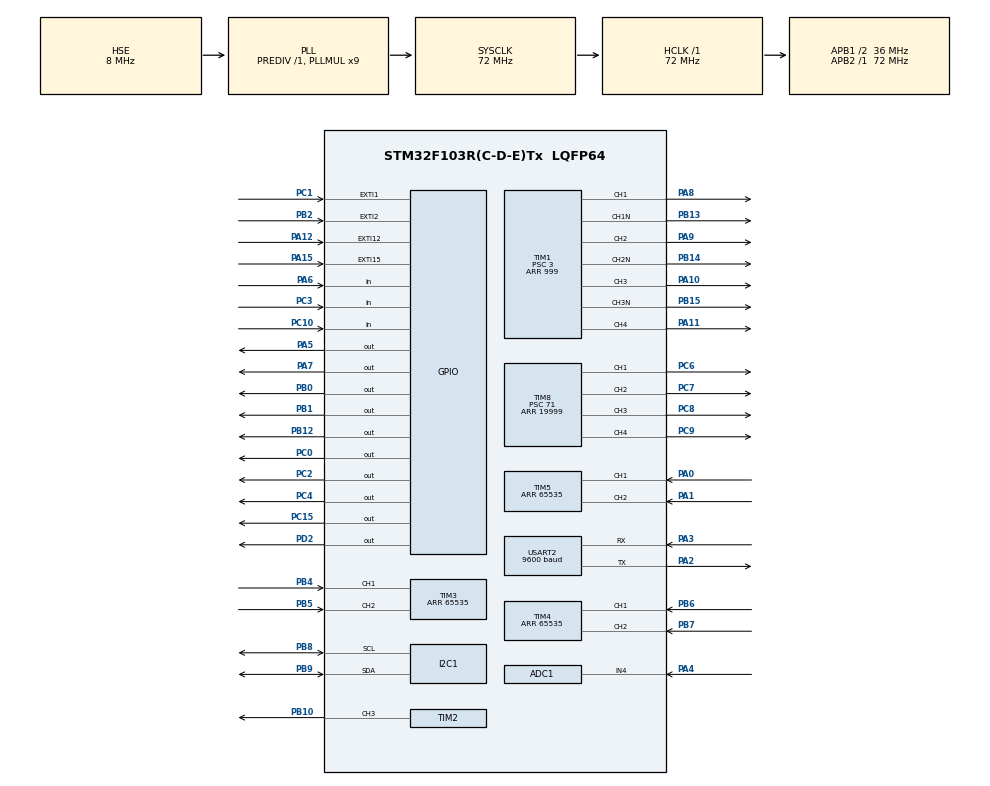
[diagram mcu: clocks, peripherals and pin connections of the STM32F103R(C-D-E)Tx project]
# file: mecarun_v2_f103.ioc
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ADC1.Channel-0\#ChannelRegularConversion=ADC_CHANNEL_4
ADC1.ContinuousConvMode=DISABLE
ADC1.DataAlign=ADC_DATAALIGN_RIGHT
ADC1.DiscontinuousConvMode=DISABLE
ADC1.EnableAnalogWatchDog=false
ADC1.EnableRegularConversion=ENABLE
ADC1.ExternalTrigConv=ADC_SOFTWARE_START
ADC1.InjNumberOfConversion=0
ADC1.NbrOfConversion=1
ADC1.NbrOfConversionFlag=1
ADC1.Rank-0\#ChannelRegularConversion=1
ADC1.SamplingTime-0\#ChannelRegularConversion=ADC_SAMPLETIME_1CYCLE_5
ADC1.ScanConvMode=ADC_SCAN_DISABLE
ADC1.master=1
Dma.Request0=USART2_RX
Dma.Request1=USART2_TX
Dma.USART2_RX.0.Direction=DMA_PERIPH_TO_MEMORY
Dma.USART2_RX.0.Instance=DMA1_Channel6
Dma.USART2_RX.0.MemDataAlignment=DMA_MDATAALIGN_BYTE
Dma.USART2_RX.0.MemInc=DMA_MINC_ENABLE
Dma.USART2_RX.0.Mode=DMA_NORMAL
Dma.USART2_RX.0.PeriphDataAlignment=DMA_PDATAALIGN_BYTE
Dma.USART2_RX.0.PeriphInc=DMA_PINC_DISABLE
Dma.USART2_RX.0.Priority=DMA_PRIORITY_LOW
Dma.USART2_TX.1.Direction=DMA_MEMORY_TO_PERIPH
Dma.USART2_TX.1.Instance=DMA1_Channel7
Dma.USART2_TX.1.MemDataAlignment=DMA_MDATAALIGN_BYTE
Dma.USART2_TX.1.MemInc=DMA_MINC_ENABLE
Dma.USART2_TX.1.Mode=DMA_NORMAL
Dma.USART2_TX.1.PeriphDataAlignment=DMA_PDATAALIGN_BYTE
Dma.USART2_TX.1.PeriphInc=DMA_PINC_DISABLE
Dma.USART2_TX.1.Priority=DMA_PRIORITY_LOW
I2C1.I2C_Mode=I2C_Fast
IWDG.Prescaler=IWDG_PRESCALER_256
Mcu.Family=STM32F1
Mcu.Name=STM32F103R(C-D-E)Tx
Mcu.Package=LQFP64
NVIC.ADC1_2_IRQn=true\:6\:0\:true\:false\:true\:true\:true
NVIC.DMA1_Channel6_IRQn=true\:0\:0\:false\:false\:true\:false\:true
NVIC.DMA1_Channel7_IRQn=true\:0\:0\:false\:false\:true\:false\:true
NVIC.EXTI15_10_IRQn=true\:5\:0\:true\:false\:false\:true\:true
NVIC.EXTI1_IRQn=true\:1\:0\:true\:false\:false\:true\:true
NVIC.EXTI2_IRQn=true\:0\:0\:false\:false\:false\:true\:true
NVIC.I2C1_EV_IRQn=true\:3\:0\:true\:false\:true\:true\:true
NVIC.PriorityGroup=NVIC_PRIORITYGROUP_4
NVIC.USART2_IRQn=true\:0\:0\:false\:false\:true\:true\:true
PA0-WKUP.Signal=S_TIM5_CH1
PA1.Signal=S_TIM5_CH2
PA10.GPIO_Speed=GPIO_SPEED_FREQ_HIGH
PA10.Signal=S_TIM1_CH3
PA11.GPIO_Speed=GPIO_SPEED_FREQ_HIGH
PA11.Signal=S_TIM1_CH4
PA12.GPIO_PuPd=GPIO_PULLUP
PA12.Signal=GPXTI12
PA13.Mode=Serial_Wire
PA13.Signal=SYS_JTMS-SWDIO
PA14.Mode=Serial_Wire
PA14.Signal=SYS_JTCK-SWCLK
PA15.GPIO_ModeDefaultEXTI=GPIO_MODE_IT_RISING_FALLING
PA15.Signal=GPXTI15
PA2.Mode=Asynchronous
PA2.Signal=USART2_TX
PA3.Mode=Asynchronous
PA3.Signal=USART2_RX
PA4.Signal=ADCx_IN4
PA5.GPIO_Speed=GPIO_SPEED_FREQ_HIGH
PA5.PinState=GPIO_PIN_SET
PA5.Signal=GPIO_Output
PA6.Signal=GPIO_Input
PA7.GPIO_Speed=GPIO_SPEED_FREQ_HIGH
PA7.PinState=GPIO_PIN_SET
PA7.Signal=GPIO_Output
PA8.GPIO_Speed=GPIO_SPEED_FREQ_HIGH
PA8.Signal=S_TIM1_CH1
PA9.GPIO_Speed=GPIO_SPEED_FREQ_HIGH
PA9.Signal=S_TIM1_CH2
PB0.Signal=GPIO_Output
PB1.Signal=GPIO_Output
PB10.Signal=S_TIM2_CH3
PB12.PinState=GPIO_PIN_RESET
PB12.Signal=GPIO_Output
PB13.GPIO_Speed=GPIO_SPEED_FREQ_HIGH
PB13.Mode=PWM Generation1 CH1 CH1N
PB13.Signal=TIM1_CH1N
PB14.GPIO_Speed=GPIO_SPEED_FREQ_HIGH
PB14.Mode=PWM Generation2 CH2 CH2N
PB14.Signal=TIM1_CH2N
PB15.GPIO_Speed=GPIO_SPEED_FREQ_HIGH
PB15.Mode=PWM Generation3 CH3 CH3N
PB15.Signal=TIM1_CH3N
PB2.GPIO_ModeDefaultEXTI=GPIO_MODE_IT_RISING_FALLING
PB2.Signal=GPXTI2
PB4.Signal=S_TIM3_CH1
PB5.Signal=S_TIM3_CH2
PB6.Signal=S_TIM4_CH1
PB7.Signal=S_TIM4_CH2
PB8.Mode=I2C
PB8.Signal=I2C1_SCL
PB9.Mode=I2C
PB9.Signal=I2C1_SDA
PC0.Signal=GPIO_Output
PC1.GPIO_ModeDefaultEXTI=GPIO_MODE_IT_RISING_FALLING
PC1.Signal=GPXTI1
PC10.GPIO_PuPd=GPIO_PULLUP
PC10.Signal=GPIO_Input
PC15-OSC32_OUT.GPIO_Speed=GPIO_SPEED_FREQ_HIGH
PC15-OSC32_OUT.Signal=GPIO_Output
PC2.PinState=GPIO_PIN_SET
PC2.Signal=GPIO_Output
PC3.GPIO_PuPd=GPIO_PULLUP
PC3.Signal=GPIO_Input
PC4.GPIO_Speed=GPIO_SPEED_FREQ_HIGH
PC4.Signal=GPIO_Output
PC6.Signal=S_TIM8_CH1
PC7.Signal=S_TIM8_CH2
PC8.Signal=S_TIM8_CH3
PC9.Signal=S_TIM8_CH4
PD0-OSC_IN.Mode=HSE-External-Oscillator
PD0-OSC_IN.Signal=RCC_OSC_IN
PD1-OSC_OUT.Mode=HSE-External-Oscillator
PD1-OSC_OUT.Signal=RCC_OSC_OUT
PD2.Signal=GPIO_Output
ProjectManager.HeapSize=0x200
ProjectManager.StackSize=0x400
ProjectManager.TargetToolchain=MDK-ARM V5
RCC.ADCPresc=RCC_ADCPCLK2_DIV6
RCC.AHBFreq_Value=72000000
RCC.APB1CLKDivider=RCC_HCLK_DIV2
RCC.APB1Freq_Value=36000000
RCC.APB1TimFreq_Value=72000000
RCC.APB2Freq_Value=72000000
RCC.APB2TimFreq_Value=72000000
RCC.HCLKFreq_Value=72000000
RCC.PLLMUL=RCC_PLL_MUL9
RCC.PLLSourceVirtual=RCC_PLLSOURCE_HSE
RCC.SYSCLKFreq_VALUE=72000000
RCC.SYSCLKSource=RCC_SYSCLKSOURCE_PLLCLK
RCC.USBFreq_Value=72000000
SH.ADCx_IN4.0=ADC1_IN4,IN4
SH.S_TIM1_CH1.0=TIM1_CH1,PWM Generation1 CH1 CH1N
SH.S_TIM1_CH2.0=TIM1_CH2,PWM Generation2 CH2 CH2N
SH.S_TIM1_CH3.0=TIM1_CH3,PWM Generation3 CH3 CH3N
SH.S_TIM1_CH4.0=TIM1_CH4,PWM Generation4 CH4
SH.S_TIM2_CH3.0=TIM2_CH3,PWM Generation3 CH3
SH.S_TIM3_CH1.0=TIM3_CH1,Encoder_Interface
SH.S_TIM3_CH2.0=TIM3_CH2,Encoder_Interface
SH.S_TIM4_CH1.0=TIM4_CH1,Encoder_Interface
SH.S_TIM4_CH2.0=TIM4_CH2,Encoder_Interface
SH.S_TIM5_CH1.0=TIM5_CH1,Encoder_Interface
SH.S_TIM5_CH2.0=TIM5_CH2,Encoder_Interface
SH.S_TIM8_CH1.0=TIM8_CH1,PWM Generation1 CH1
SH.S_TIM8_CH2.0=TIM8_CH2,PWM Generation2 CH2
SH.S_TIM8_CH3.0=TIM8_CH3,PWM Generation3 CH3
SH.S_TIM8_CH4.0=TIM8_CH4,PWM Generation4 CH4
TIM1.AutoReloadPreload=TIM_AUTORELOAD_PRELOAD_ENABLE
TIM1.Channel-PWM\ Generation1\ CH1\ CH1N=TIM_CHANNEL_1
TIM1.Channel-PWM\ Generation2\ CH2\ CH2N=TIM_CHANNEL_2
TIM1.Channel-PWM\ Generation3\ CH3\ CH3N=TIM_CHANNEL_3
TIM1.Channel-PWM\ Generation4\ CH4=TIM_CHANNEL_4
TIM1.ClockDivision=TIM_CLOCKDIVISION_DIV1
TIM1.OCIdleState_1=TIM_OCIDLESTATE_SET
TIM1.OCIdleState_2=TIM_OCIDLESTATE_SET
TIM1.OCIdleState_3=TIM_OCIDLESTATE_SET
TIM1.OCIdleState_4=TIM_OCIDLESTATE_SET
TIM1.OCNIdleState_1=TIM_OCNIDLESTATE_SET
TIM1.OCNIdleState_2=TIM_OCNIDLESTATE_SET
TIM1.OCNIdleState_3=TIM_OCNIDLESTATE_SET
TIM1.OCNPolarity_1=TIM_OCNPOLARITY_LOW
TIM1.OCNPolarity_3=TIM_OCNPOLARITY_LOW
TIM1.OCPolarity_1=TIM_OCPOLARITY_LOW
TIM1.OCPolarity_3=TIM_OCPOLARITY_LOW
TIM1.Period=999
TIM1.Prescaler=3
TIM2.AutoReloadPreload=TIM_AUTORELOAD_PRELOAD_ENABLE
TIM2.Channel-PWM\ Generation3\ CH3=TIM_CHANNEL_3
TIM2.ClockDivision=TIM_CLOCKDIVISION_DIV1
TIM2.Period=19999
TIM2.Prescaler=71
TIM2.Pulse-PWM\ Generation3\ CH3=1500
TIM3.EncoderMode=TIM_ENCODERMODE_TI12
TIM3.Period=65535
TIM4.EncoderMode=TIM_ENCODERMODE_TI12
TIM4.Period=65535
TIM5.EncoderMode=TIM_ENCODERMODE_TI12
TIM5.Period=65535
TIM6.Period=65535
TIM6.Prescaler=71
TIM8.AutoReloadPreload=TIM_AUTORELOAD_PRELOAD_ENABLE
TIM8.Channel-PWM\ Generation1\ CH1=TIM_CHANNEL_1
TIM8.Channel-PWM\ Generation2\ CH2=TIM_CHANNEL_2
TIM8.Channel-PWM\ Generation3\ CH3=TIM_CHANNEL_3
TIM8.Channel-PWM\ Generation4\ CH4=TIM_CHANNEL_4
TIM8.ClockDivision=TIM_CLOCKDIVISION_DIV1
TIM8.Period=19999
TIM8.Prescaler=71
TIM8.Pulse-PWM\ Generation1\ CH1=1500
TIM8.Pulse-PWM\ Generation2\ CH2=1500
TIM8.Pulse-PWM\ Generation3\ CH3=1500
TIM8.Pulse-PWM\ Generation4\ CH4=1500
USART2.BaudRate=9600
USART2.VirtualMode=VM_ASYNC
VP_IWDG_VS_IWDG.Mode=IWDG_Activate
VP_TIM1_VS_ClockSourceINT.Mode=Internal
VP_TIM2_VS_ClockSourceINT.Mode=Internal
VP_TIM6_VS_ClockSourceINT.Mode=Enable_Timer
VP_TIM8_VS_ClockSourceINT.Mode=Internal
board=custom

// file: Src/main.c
/* USER CODE BEGIN Header */
/**
  ******************************************************************************
  * @file           : main.c
  * @brief          : Main program body
  ******************************************************************************
  ** This notice applies to any and all portions of this file
  * that are not between comment pairs USER CODE BEGIN and
  * USER CODE END. Other portions of this file, whether
  * inserted by the user or by software development tools
  * are owned by their respective copyright owners.
  *
  * COPYRIGHT(c) 2019 STMicroelectronics
  *
  * Redistribution and use in source and binary forms, with or without modification,
  * are permitted provided that the following conditions are met:
  *   1. Redistributions of source code must retain the above copyright notice,
  *      this list of conditions and the following disclaimer.
  *   2. Redistributions in binary form must reproduce the above copyright notice,
  *      this list of conditions and the following disclaimer in the documentation
  *      and/or other materials provided with the distribution.
  *   3. Neither the name of STMicroelectronics nor the names of its contributors
  *      may be used to endorse or promote products derived from this software
  *      without specific prior written permission.
  *
  * THIS SOFTWARE IS PROVIDED BY THE COPYRIGHT HOLDERS AND CONTRIBUTORS "AS IS"
  * AND ANY EXPRESS OR IMPLIED WARRANTIES, INCLUDING, BUT NOT LIMITED TO, THE
  * IMPLIED WARRANTIES OF MERCHANTABILITY AND FITNESS FOR A PARTICULAR PURPOSE ARE
  * DISCLAIMED. IN NO EVENT SHALL THE COPYRIGHT HOLDER OR CONTRIBUTORS BE LIABLE
  * FOR ANY DIRECT, INDIRECT, INCIDENTAL, SPECIAL, EXEMPLARY, OR CONSEQUENTIAL
  * DAMAGES (INCLUDING, BUT NOT LIMITED TO, PROCUREMENT OF SUBSTITUTE GOODS OR
  * SERVICES; LOSS OF USE, DATA, OR PROFITS; OR BUSINESS INTERRUPTION) HOWEVER
  * CAUSED AND ON ANY THEORY OF LIABILITY, WHETHER IN CONTRACT, STRICT LIABILITY,
  * OR TORT (INCLUDING NEGLIGENCE OR OTHERWISE) ARISING IN ANY WAY OUT OF THE USE
  * OF THIS SOFTWARE, EVEN IF ADVISED OF THE POSSIBILITY OF SUCH DAMAGE.
  *
  ******************************************************************************
  */
/* USER CODE END Header */

#include "main.h"

/* USER CODE BEGIN Includes */
#include "led.h"
#include "motor.h"
#include "mecanum.h"
#include "bluetooth.h"
#include "battery.h"
#include "servo.h"
#include "mpu9250.h"
#include "config.h"
#include <stdio.h>
#include <stdlib.h>
/* USER CODE END Includes */

ADC_HandleTypeDef hadc1;

I2C_HandleTypeDef hi2c1;

IWDG_HandleTypeDef hiwdg;

TIM_HandleTypeDef htim2;
TIM_HandleTypeDef htim3;
TIM_HandleTypeDef htim4;
TIM_HandleTypeDef htim5;
TIM_HandleTypeDef htim6;
TIM_HandleTypeDef htim8;

UART_HandleTypeDef huart2;
DMA_HandleTypeDef hdma_usart2_rx;
DMA_HandleTypeDef hdma_usart2_tx;

/* USER CODE BEGIN PV */
/* Private variables ---------------------------------------------------------*/
/*use global variables for easier online debug*/
mt_ctrltype common_mt_ctrl = {0,0,0,2};
pidtype motors[4]={{0,0,0,0,0},{0,0,0,0,0},{0,0,0,0,0},{0,0,0,0,0}};
speed3axistype speed_xyr={0,0,0,0};
imutype imudat;
uint32_t dist;
uint16_t bat_vol;
//uint8_t debugpid = 0;
typedef enum{
	bt_mode,
	test_mode,
	normal_mode
}ctrlmodetype;
ctrlmodetype ctrlmode = normal_mode;
/* USER CODE END PV */

void SystemClock_Config(void);
static void MX_GPIO_Init(void);
static void MX_DMA_Init(void);
static void MX_TIM5_Init(void);
static void MX_ADC1_Init(void);
static void MX_TIM1_Init(void);
static void MX_I2C1_Init(void);
static void MX_TIM4_Init(void);
static void MX_TIM3_Init(void);
static void MX_TIM6_Init(void);
static void MX_TIM2_Init(void);
static void MX_TIM8_Init(void);
static void MX_USART2_UART_Init(void);
static void MX_IWDG_Init(void);
/* USER CODE BEGIN PFP */
/* Private function prototypes -----------------------------------------------*/
ctrlmodetype Check_mode(void);
/* USER CODE END PFP */

/* USER CODE BEGIN 0 */

static void uDelay(uint32_t t)
{
	uint32_t i;
	for(i=0;i<t;++i)
		__nop();
}

/*
3 4 10
--- *  test
* * *  ps2
* ---  bt
*/
ctrlmodetype Check_mode(void)
{
	if(GPIO_PIN_RESET == HAL_GPIO_ReadPin(GPIOC,GPIO_PIN_3))
	{
		HAL_GPIO_WritePin(GPIOC,GPIO_PIN_4,GPIO_PIN_SET);
		uDelay(10);
		if(GPIO_PIN_SET == HAL_GPIO_ReadPin(GPIOC,GPIO_PIN_3))
		{
			return test_mode;
		}
	}
	else if(GPIO_PIN_RESET == HAL_GPIO_ReadPin(GPIOC,GPIO_PIN_10))
	{
		HAL_GPIO_WritePin(GPIOC,GPIO_PIN_4,GPIO_PIN_SET);
		uDelay(10);
		if(GPIO_PIN_SET == HAL_GPIO_ReadPin(GPIOC,GPIO_PIN_10))
		{
			return bt_mode;
		}
	}
		return test_mode;
}

/* USER CODE END 0 */

int main(void)
{
  /* USER CODE BEGIN 1 */
	/*for display*/
	uint8_t distbuf[]={'D','i','s','t',':','0','0','0','0','0','m','m',0};
	uint8_t volbuf[]={'0','0','.','0','0','V',0};
	/*for test mode*/
	uint32_t test_time = 0;
	uint8_t test_cnt = 0;
	/*to lowwer the oled flash frequency*/
	#define SONAR_PERIOD 71
	#define VOL_PERIOD 101
	uint32_t time_sonar = 35;
	uint32_t time_vol = 45;
	uint8_t testmessage[] = "aaaa";
  /* USER CODE END 1 */

  /* MCU Configuration--------------------------------------------------------*/

  /* Reset of all peripherals, Initializes the Flash interface and the Systick. */
  HAL_Init();

  /* Configure the system clock */
  SystemClock_Config();

  /* Initialize all configured peripherals */
  MX_GPIO_Init();
  MX_DMA_Init();
  MX_TIM5_Init();
  MX_ADC1_Init();
  MX_TIM1_Init();
  MX_I2C1_Init();
  MX_TIM4_Init();
  MX_TIM3_Init();
  MX_TIM6_Init();
  MX_TIM2_Init();
  MX_TIM8_Init();
  MX_USART2_UART_Init();
  MX_IWDG_Init();
  /* USER CODE BEGIN 2 */

	Set_blink(2,100);//ms
	user_Motor_Init();
	Motor_unlock(&common_mt_ctrl);

	#if PID_EN == 1
	Motor_PID_Enable(&common_mt_ctrl,motors,1.04500008, 0.0900062919, 0);
	#endif

//	ctrlmode = Check_mode();

	//InitMPU6050();

  /* USER CODE END 2 */

  /* Infinite loop */
  while (1)
  {

    /* USER CODE BEGIN 3 */
//		Led_task();
		//if(debugpid==0)
		{
				switch(ctrlmode)
			{
				case normal_mode:
					usart_task(&common_mt_ctrl,motors,&speed_xyr);
				break;
//				case bt_mode:
//					BT_task(&common_mt_ctrl,motors,&speed_xyr);
				break;
				case test_mode:
					if(HAL_GetTick()>test_time)
					{
						//Read_MPU9250_acc(&imudat);
						//Read_MPU9250_gyro(&imudat);
						//Read_MPU9250_mag(&imudat);
						switch(test_cnt)
						{
							case 0:
								speed_xyr.x = 700;
								speed_xyr.y = 0;
								break;
							case 1:
								speed_xyr.x = 0;
								speed_xyr.y = 700;
								break;
							case 2:
								speed_xyr.x = -700;
								speed_xyr.y = 0;
								break;
							case 3:
								speed_xyr.x = 0;
								speed_xyr.y = -700;
								break;
						}
						speed_xyr.cal_speed = 1;
						++test_cnt;
						test_cnt&=0x03;
						test_time=HAL_GetTick()+1000;
					}
				break;
			}
		}

		if(speed_xyr.cal_speed != 0)
		{

			//if(dist <= 50)
			//	speed_xyr[1]=0;//y
			cal_mecanum(&speed_xyr,&common_mt_ctrl,motors);
			speed_xyr.cal_speed = 0;
		}

		Get_cnt(motors);
		Motor_task(&common_mt_ctrl,motors);

		#if BAT_CHECK == 1
		if(Check_volt(&bat_vol) != 0)
		{
			Motor_lock(&common_mt_ctrl);
			Set_blink(10000,60);//ms
			while(1)
			{
				Led_task();
				#if IWDG_EN == 1
				HAL_IWDG_Refresh(&hiwdg);
				#endif
			}
		}
		#endif

		#if IWDG_EN == 1
		HAL_IWDG_Refresh(&hiwdg);
		#endif
		//HAL_GPIO_TogglePin(GPIOC,GPIO_PIN_15);//timing debug
  }
  /* USER CODE END 3 */
}

void SystemClock_Config(void)
{
  RCC_OscInitTypeDef RCC_OscInitStruct = {0};
  RCC_ClkInitTypeDef RCC_ClkInitStruct = {0};
  RCC_PeriphCLKInitTypeDef PeriphClkInit = {0};

  /**Initializes the CPU, AHB and APB busses clocks
  */
  RCC_OscInitStruct.OscillatorType = RCC_OSCILLATORTYPE_LSI|RCC_OSCILLATORTYPE_HSE;
  RCC_OscInitStruct.HSEState = RCC_HSE_ON;
  RCC_OscInitStruct.HSEPredivValue = RCC_HSE_PREDIV_DIV1;
  RCC_OscInitStruct.HSIState = RCC_HSI_ON;
  RCC_OscInitStruct.LSIState = RCC_LSI_ON;
  RCC_OscInitStruct.PLL.PLLState = RCC_PLL_ON;
  RCC_OscInitStruct.PLL.PLLSource = RCC_PLLSOURCE_HSE;
  RCC_OscInitStruct.PLL.PLLMUL = RCC_PLL_MUL9;
  if (HAL_RCC_OscConfig(&RCC_OscInitStruct) != HAL_OK)
  {
    Error_Handler();
  }
  /**Initializes the CPU, AHB and APB busses clocks
  */
  RCC_ClkInitStruct.ClockType = RCC_CLOCKTYPE_HCLK|RCC_CLOCKTYPE_SYSCLK
                              |RCC_CLOCKTYPE_PCLK1|RCC_CLOCKTYPE_PCLK2;
  RCC_ClkInitStruct.SYSCLKSource = RCC_SYSCLKSOURCE_PLLCLK;
  RCC_ClkInitStruct.AHBCLKDivider = RCC_SYSCLK_DIV1;
  RCC_ClkInitStruct.APB1CLKDivider = RCC_HCLK_DIV2;
  RCC_ClkInitStruct.APB2CLKDivider = RCC_HCLK_DIV1;

  if (HAL_RCC_ClockConfig(&RCC_ClkInitStruct, FLASH_LATENCY_2) != HAL_OK)
  {
    Error_Handler();
  }
  PeriphClkInit.PeriphClockSelection = RCC_PERIPHCLK_ADC;
  PeriphClkInit.AdcClockSelection = RCC_ADCPCLK2_DIV6;
  if (HAL_RCCEx_PeriphCLKConfig(&PeriphClkInit) != HAL_OK)
  {
    Error_Handler();
  }
}

static void MX_ADC1_Init(void)
{

  ADC_ChannelConfTypeDef sConfig = {0};

  /**Common config
  */
  hadc1.Instance = ADC1;
  hadc1.Init.ScanConvMode = ADC_SCAN_DISABLE;
  hadc1.Init.ContinuousConvMode = DISABLE;
  hadc1.Init.DiscontinuousConvMode = DISABLE;
  hadc1.Init.ExternalTrigConv = ADC_SOFTWARE_START;
  hadc1.Init.DataAlign = ADC_DATAALIGN_RIGHT;
  hadc1.Init.NbrOfConversion = 1;
  if (HAL_ADC_Init(&hadc1) != HAL_OK)
  {
    Error_Handler();
  }
  /**Configure Regular Channel
  */
  sConfig.Channel = ADC_CHANNEL_4;
  sConfig.Rank = ADC_REGULAR_RANK_1;
  sConfig.SamplingTime = ADC_SAMPLETIME_1CYCLE_5;
  if (HAL_ADC_ConfigChannel(&hadc1, &sConfig) != HAL_OK)
  {
    Error_Handler();
  }

}

static void MX_I2C1_Init(void)
{

  hi2c1.Instance = I2C1;
  hi2c1.Init.ClockSpeed = 400000;
  hi2c1.Init.DutyCycle = I2C_DUTYCYCLE_2;
  hi2c1.Init.OwnAddress1 = 0;
  hi2c1.Init.AddressingMode = I2C_ADDRESSINGMODE_7BIT;
  hi2c1.Init.DualAddressMode = I2C_DUALADDRESS_DISABLE;
  hi2c1.Init.OwnAddress2 = 0;
  hi2c1.Init.GeneralCallMode = I2C_GENERALCALL_DISABLE;
  hi2c1.Init.NoStretchMode = I2C_NOSTRETCH_DISABLE;
  if (HAL_I2C_Init(&hi2c1) != HAL_OK)
  {
    Error_Handler();
  }

}

static void MX_IWDG_Init(void)
{

  /* USER CODE BEGIN IWDG_Init 1 */
	#if IWDG_EN == 1
  /* USER CODE END IWDG_Init 1 */
  hiwdg.Instance = IWDG;
  hiwdg.Init.Prescaler = IWDG_PRESCALER_256;
  hiwdg.Init.Reload = 4095;
  if (HAL_IWDG_Init(&hiwdg) != HAL_OK)
  {
    Error_Handler();
  }
  /* USER CODE BEGIN IWDG_Init 2 */
	#endif
  /* USER CODE END IWDG_Init 2 */

}

static void MX_TIM1_Init(void)
{

  LL_TIM_InitTypeDef TIM_InitStruct = {0};
  LL_TIM_OC_InitTypeDef TIM_OC_InitStruct = {0};
  LL_TIM_BDTR_InitTypeDef TIM_BDTRInitStruct = {0};

  LL_GPIO_InitTypeDef GPIO_InitStruct = {0};

  /* Peripheral clock enable */
  LL_APB2_GRP1_EnableClock(LL_APB2_GRP1_PERIPH_TIM1);

  TIM_InitStruct.Prescaler = 3;
  TIM_InitStruct.CounterMode = LL_TIM_COUNTERMODE_UP;
  TIM_InitStruct.Autoreload = 999;
  TIM_InitStruct.ClockDivision = LL_TIM_CLOCKDIVISION_DIV1;
  TIM_InitStruct.RepetitionCounter = 0;
  LL_TIM_Init(TIM1, &TIM_InitStruct);
  LL_TIM_EnableARRPreload(TIM1);
  LL_TIM_SetClockSource(TIM1, LL_TIM_CLOCKSOURCE_INTERNAL);
  LL_TIM_OC_EnablePreload(TIM1, LL_TIM_CHANNEL_CH1);
  TIM_OC_InitStruct.OCMode = LL_TIM_OCMODE_PWM1;
  TIM_OC_InitStruct.OCState = LL_TIM_OCSTATE_DISABLE;
  TIM_OC_InitStruct.OCNState = LL_TIM_OCSTATE_DISABLE;
  TIM_OC_InitStruct.CompareValue = 0;
  TIM_OC_InitStruct.OCPolarity = LL_TIM_OCPOLARITY_LOW;
  TIM_OC_InitStruct.OCNPolarity = LL_TIM_OCPOLARITY_LOW;
  TIM_OC_InitStruct.OCIdleState = LL_TIM_OCIDLESTATE_HIGH;
  TIM_OC_InitStruct.OCNIdleState = LL_TIM_OCIDLESTATE_HIGH;
  LL_TIM_OC_Init(TIM1, LL_TIM_CHANNEL_CH1, &TIM_OC_InitStruct);
  LL_TIM_OC_DisableFast(TIM1, LL_TIM_CHANNEL_CH1);
  LL_TIM_OC_EnablePreload(TIM1, LL_TIM_CHANNEL_CH2);
  TIM_OC_InitStruct.OCState = LL_TIM_OCSTATE_DISABLE;
  TIM_OC_InitStruct.OCNState = LL_TIM_OCSTATE_DISABLE;
  TIM_OC_InitStruct.OCPolarity = LL_TIM_OCPOLARITY_HIGH;
  TIM_OC_InitStruct.OCNPolarity = LL_TIM_OCPOLARITY_HIGH;
  LL_TIM_OC_Init(TIM1, LL_TIM_CHANNEL_CH2, &TIM_OC_InitStruct);
  LL_TIM_OC_DisableFast(TIM1, LL_TIM_CHANNEL_CH2);
  LL_TIM_OC_EnablePreload(TIM1, LL_TIM_CHANNEL_CH3);
  TIM_OC_InitStruct.OCState = LL_TIM_OCSTATE_DISABLE;
  TIM_OC_InitStruct.OCNState = LL_TIM_OCSTATE_DISABLE;
  TIM_OC_InitStruct.OCPolarity = LL_TIM_OCPOLARITY_LOW;
  TIM_OC_InitStruct.OCNPolarity = LL_TIM_OCPOLARITY_LOW;
  LL_TIM_OC_Init(TIM1, LL_TIM_CHANNEL_CH3, &TIM_OC_InitStruct);
  LL_TIM_OC_DisableFast(TIM1, LL_TIM_CHANNEL_CH3);
  LL_TIM_OC_EnablePreload(TIM1, LL_TIM_CHANNEL_CH4);
  TIM_OC_InitStruct.OCState = LL_TIM_OCSTATE_DISABLE;
  TIM_OC_InitStruct.OCNState = LL_TIM_OCSTATE_DISABLE;
  TIM_OC_InitStruct.OCPolarity = LL_TIM_OCPOLARITY_HIGH;
  TIM_OC_InitStruct.OCNIdleState = LL_TIM_OCIDLESTATE_LOW;
  LL_TIM_OC_Init(TIM1, LL_TIM_CHANNEL_CH4, &TIM_OC_InitStruct);
  LL_TIM_OC_DisableFast(TIM1, LL_TIM_CHANNEL_CH4);
  LL_TIM_SetTriggerOutput(TIM1, LL_TIM_TRGO_RESET);
  LL_TIM_DisableMasterSlaveMode(TIM1);
  TIM_BDTRInitStruct.OSSRState = LL_TIM_OSSR_DISABLE;
  TIM_BDTRInitStruct.OSSIState = LL_TIM_OSSI_DISABLE;
  TIM_BDTRInitStruct.LockLevel = LL_TIM_LOCKLEVEL_OFF;
  TIM_BDTRInitStruct.DeadTime = 0;
  TIM_BDTRInitStruct.BreakState = LL_TIM_BREAK_DISABLE;
  TIM_BDTRInitStruct.BreakPolarity = LL_TIM_BREAK_POLARITY_HIGH;
  TIM_BDTRInitStruct.AutomaticOutput = LL_TIM_AUTOMATICOUTPUT_DISABLE;
  LL_TIM_BDTR_Init(TIM1, &TIM_BDTRInitStruct);
  LL_APB2_GRP1_EnableClock(LL_APB2_GRP1_PERIPH_GPIOB);
  LL_APB2_GRP1_EnableClock(LL_APB2_GRP1_PERIPH_GPIOA);
  /**TIM1 GPIO Configuration
  PB13   ------> TIM1_CH1N
  PB14   ------> TIM1_CH2N
  PB15   ------> TIM1_CH3N
  PA8   ------> TIM1_CH1
  PA9   ------> TIM1_CH2
  PA10   ------> TIM1_CH3
  PA11   ------> TIM1_CH4
  */
  GPIO_InitStruct.Pin = LL_GPIO_PIN_13|LL_GPIO_PIN_14|LL_GPIO_PIN_15;
  GPIO_InitStruct.Mode = LL_GPIO_MODE_ALTERNATE;
  GPIO_InitStruct.Speed = LL_GPIO_SPEED_FREQ_HIGH;
  GPIO_InitStruct.OutputType = LL_GPIO_OUTPUT_PUSHPULL;
  LL_GPIO_Init(GPIOB, &GPIO_InitStruct);

  GPIO_InitStruct.Pin = LL_GPIO_PIN_8|LL_GPIO_PIN_9|LL_GPIO_PIN_10|LL_GPIO_PIN_11;
  GPIO_InitStruct.Mode = LL_GPIO_MODE_ALTERNATE;
  GPIO_InitStruct.Speed = LL_GPIO_SPEED_FREQ_HIGH;
  GPIO_InitStruct.OutputType = LL_GPIO_OUTPUT_PUSHPULL;
  LL_GPIO_Init(GPIOA, &GPIO_InitStruct);

}

static void MX_TIM2_Init(void)
{

  TIM_ClockConfigTypeDef sClockSourceConfig = {0};
  TIM_MasterConfigTypeDef sMasterConfig = {0};
  TIM_OC_InitTypeDef sConfigOC = {0};

  htim2.Instance = TIM2;
  htim2.Init.Prescaler = 71;
  htim2.Init.CounterMode = TIM_COUNTERMODE_UP;
  htim2.Init.Period = 19999;
  htim2.Init.ClockDivision = TIM_CLOCKDIVISION_DIV1;
  htim2.Init.AutoReloadPreload = TIM_AUTORELOAD_PRELOAD_ENABLE;
  if (HAL_TIM_Base_Init(&htim2) != HAL_OK)
  {
    Error_Handler();
  }
  sClockSourceConfig.ClockSource = TIM_CLOCKSOURCE_INTERNAL;
  if (HAL_TIM_ConfigClockSource(&htim2, &sClockSourceConfig) != HAL_OK)
  {
    Error_Handler();
  }
  if (HAL_TIM_PWM_Init(&htim2) != HAL_OK)
  {
    Error_Handler();
  }
  sMasterConfig.MasterOutputTrigger = TIM_TRGO_RESET;
  sMasterConfig.MasterSlaveMode = TIM_MASTERSLAVEMODE_DISABLE;
  if (HAL_TIMEx_MasterConfigSynchronization(&htim2, &sMasterConfig) != HAL_OK)
  {
    Error_Handler();
  }
  sConfigOC.OCMode = TIM_OCMODE_PWM1;
  sConfigOC.Pulse = 1500;
  sConfigOC.OCPolarity = TIM_OCPOLARITY_HIGH;
  sConfigOC.OCFastMode = TIM_OCFAST_DISABLE;
  if (HAL_TIM_PWM_ConfigChannel(&htim2, &sConfigOC, TIM_CHANNEL_3) != HAL_OK)
  {
    Error_Handler();
  }
  HAL_TIM_MspPostInit(&htim2);

}

static void MX_TIM3_Init(void)
{

  TIM_Encoder_InitTypeDef sConfig = {0};
  TIM_MasterConfigTypeDef sMasterConfig = {0};

  htim3.Instance = TIM3;
  htim3.Init.Prescaler = 0;
  htim3.Init.CounterMode = TIM_COUNTERMODE_UP;
  htim3.Init.Period = 65535;
  htim3.Init.ClockDivision = TIM_CLOCKDIVISION_DIV1;
  htim3.Init.AutoReloadPreload = TIM_AUTORELOAD_PRELOAD_DISABLE;
  sConfig.EncoderMode = TIM_ENCODERMODE_TI12;
  sConfig.IC1Polarity = TIM_ICPOLARITY_RISING;
  sConfig.IC1Selection = TIM_ICSELECTION_DIRECTTI;
  sConfig.IC1Prescaler = TIM_ICPSC_DIV1;
  sConfig.IC1Filter = 0;
  sConfig.IC2Polarity = TIM_ICPOLARITY_RISING;
  sConfig.IC2Selection = TIM_ICSELECTION_DIRECTTI;
  sConfig.IC2Prescaler = TIM_ICPSC_DIV1;
  sConfig.IC2Filter = 0;
  if (HAL_TIM_Encoder_Init(&htim3, &sConfig) != HAL_OK)
  {
    Error_Handler();
  }
  sMasterConfig.MasterOutputTrigger = TIM_TRGO_RESET;
  sMasterConfig.MasterSlaveMode = TIM_MASTERSLAVEMODE_DISABLE;
  if (HAL_TIMEx_MasterConfigSynchronization(&htim3, &sMasterConfig) != HAL_OK)
  {
    Error_Handler();
  }

}

static void MX_TIM4_Init(void)
{

  TIM_Encoder_InitTypeDef sConfig = {0};
  TIM_MasterConfigTypeDef sMasterConfig = {0};

  htim4.Instance = TIM4;
  htim4.Init.Prescaler = 0;
  htim4.Init.CounterMode = TIM_COUNTERMODE_UP;
  htim4.Init.Period = 65535;
  htim4.Init.ClockDivision = TIM_CLOCKDIVISION_DIV1;
  htim4.Init.AutoReloadPreload = TIM_AUTORELOAD_PRELOAD_DISABLE;
  sConfig.EncoderMode = TIM_ENCODERMODE_TI12;
  sConfig.IC1Polarity = TIM_ICPOLARITY_RISING;
  sConfig.IC1Selection = TIM_ICSELECTION_DIRECTTI;
  sConfig.IC1Prescaler = TIM_ICPSC_DIV1;
  sConfig.IC1Filter = 0;
  sConfig.IC2Polarity = TIM_ICPOLARITY_RISING;
  sConfig.IC2Selection = TIM_ICSELECTION_DIRECTTI;
  sConfig.IC2Prescaler = TIM_ICPSC_DIV1;
  sConfig.IC2Filter = 0;
  if (HAL_TIM_Encoder_Init(&htim4, &sConfig) != HAL_OK)
  {
    Error_Handler();
  }
  sMasterConfig.MasterOutputTrigger = TIM_TRGO_RESET;
  sMasterConfig.MasterSlaveMode = TIM_MASTERSLAVEMODE_DISABLE;
  if (HAL_TIMEx_MasterConfigSynchronization(&htim4, &sMasterConfig) != HAL_OK)
  {
    Error_Handler();
  }

}

static void MX_TIM5_Init(void)
{

  TIM_Encoder_InitTypeDef sConfig = {0};
  TIM_MasterConfigTypeDef sMasterConfig = {0};

  htim5.Instance = TIM5;
  htim5.Init.Prescaler = 0;
  htim5.Init.CounterMode = TIM_COUNTERMODE_UP;
  htim5.Init.Period = 65535;
  htim5.Init.ClockDivision = TIM_CLOCKDIVISION_DIV1;
  htim5.Init.AutoReloadPreload = TIM_AUTORELOAD_PRELOAD_DISABLE;
  sConfig.EncoderMode = TIM_ENCODERMODE_TI12;
  sConfig.IC1Polarity = TIM_ICPOLARITY_RISING;
  sConfig.IC1Selection = TIM_ICSELECTION_DIRECTTI;
  sConfig.IC1Prescaler = TIM_ICPSC_DIV1;
  sConfig.IC1Filter = 0;
  sConfig.IC2Polarity = TIM_ICPOLARITY_RISING;
  sConfig.IC2Selection = TIM_ICSELECTION_DIRECTTI;
  sConfig.IC2Prescaler = TIM_ICPSC_DIV1;
  sConfig.IC2Filter = 0;
  if (HAL_TIM_Encoder_Init(&htim5, &sConfig) != HAL_OK)
  {
    Error_Handler();
  }
  sMasterConfig.MasterOutputTrigger = TIM_TRGO_RESET;
  sMasterConfig.MasterSlaveMode = TIM_MASTERSLAVEMODE_DISABLE;
  if (HAL_TIMEx_MasterConfigSynchronization(&htim5, &sMasterConfig) != HAL_OK)
  {
    Error_Handler();
  }

}

static void MX_TIM6_Init(void)
{

  TIM_MasterConfigTypeDef sMasterConfig = {0};

  htim6.Instance = TIM6;
  htim6.Init.Prescaler = 71;
  htim6.Init.CounterMode = TIM_COUNTERMODE_UP;
  htim6.Init.Period = 65535;
  htim6.Init.AutoReloadPreload = TIM_AUTORELOAD_PRELOAD_DISABLE;
  if (HAL_TIM_Base_Init(&htim6) != HAL_OK)
  {
    Error_Handler();
  }
  sMasterConfig.MasterOutputTrigger = TIM_TRGO_RESET;
  sMasterConfig.MasterSlaveMode = TIM_MASTERSLAVEMODE_DISABLE;
  if (HAL_TIMEx_MasterConfigSynchronization(&htim6, &sMasterConfig) != HAL_OK)
  {
    Error_Handler();
  }

}

static void MX_TIM8_Init(void)
{

  TIM_ClockConfigTypeDef sClockSourceConfig = {0};
  TIM_MasterConfigTypeDef sMasterConfig = {0};
  TIM_OC_InitTypeDef sConfigOC = {0};
  TIM_BreakDeadTimeConfigTypeDef sBreakDeadTimeConfig = {0};

  htim8.Instance = TIM8;
  htim8.Init.Prescaler = 71;
  htim8.Init.CounterMode = TIM_COUNTERMODE_UP;
  htim8.Init.Period = 19999;
  htim8.Init.ClockDivision = TIM_CLOCKDIVISION_DIV1;
  htim8.Init.RepetitionCounter = 0;
  htim8.Init.AutoReloadPreload = TIM_AUTORELOAD_PRELOAD_ENABLE;
  if (HAL_TIM_Base_Init(&htim8) != HAL_OK)
  {
    Error_Handler();
  }
  sClockSourceConfig.ClockSource = TIM_CLOCKSOURCE_INTERNAL;
  if (HAL_TIM_ConfigClockSource(&htim8, &sClockSourceConfig) != HAL_OK)
  {
    Error_Handler();
  }
  if (HAL_TIM_PWM_Init(&htim8) != HAL_OK)
  {
    Error_Handler();
  }
  sMasterConfig.MasterOutputTrigger = TIM_TRGO_RESET;
  sMasterConfig.MasterSlaveMode = TIM_MASTERSLAVEMODE_DISABLE;
  if (HAL_TIMEx_MasterConfigSynchronization(&htim8, &sMasterConfig) != HAL_OK)
  {
    Error_Handler();
  }
  sConfigOC.OCMode = TIM_OCMODE_PWM1;
  sConfigOC.Pulse = 1500;
  sConfigOC.OCPolarity = TIM_OCPOLARITY_HIGH;
  sConfigOC.OCNPolarity = TIM_OCNPOLARITY_HIGH;
  sConfigOC.OCFastMode = TIM_OCFAST_DISABLE;
  sConfigOC.OCIdleState = TIM_OCIDLESTATE_RESET;
  sConfigOC.OCNIdleState = TIM_OCNIDLESTATE_RESET;
  if (HAL_TIM_PWM_ConfigChannel(&htim8, &sConfigOC, TIM_CHANNEL_1) != HAL_OK)
  {
    Error_Handler();
  }
  if (HAL_TIM_PWM_ConfigChannel(&htim8, &sConfigOC, TIM_CHANNEL_2) != HAL_OK)
  {
    Error_Handler();
  }
  if (HAL_TIM_PWM_ConfigChannel(&htim8, &sConfigOC, TIM_CHANNEL_3) != HAL_OK)
  {
    Error_Handler();
  }
  if (HAL_TIM_PWM_ConfigChannel(&htim8, &sConfigOC, TIM_CHANNEL_4) != HAL_OK)
  {
    Error_Handler();
  }
  sBreakDeadTimeConfig.OffStateRunMode = TIM_OSSR_DISABLE;
  sBreakDeadTimeConfig.OffStateIDLEMode = TIM_OSSI_DISABLE;
  sBreakDeadTimeConfig.LockLevel = TIM_LOCKLEVEL_OFF;
  sBreakDeadTimeConfig.DeadTime = 0;
  sBreakDeadTimeConfig.BreakState = TIM_BREAK_DISABLE;
  sBreakDeadTimeConfig.BreakPolarity = TIM_BREAKPOLARITY_HIGH;
  sBreakDeadTimeConfig.AutomaticOutput = TIM_AUTOMATICOUTPUT_DISABLE;
  if (HAL_TIMEx_ConfigBreakDeadTime(&htim8, &sBreakDeadTimeConfig) != HAL_OK)
  {
    Error_Handler();
  }
  HAL_TIM_MspPostInit(&htim8);

}

static void MX_USART2_UART_Init(void)
{

  huart2.Instance = USART2;
  huart2.Init.BaudRate = 9600;
  huart2.Init.WordLength = UART_WORDLENGTH_8B;
  huart2.Init.StopBits = UART_STOPBITS_1;
  huart2.Init.Parity = UART_PARITY_NONE;
  huart2.Init.Mode = UART_MODE_TX_RX;
  huart2.Init.HwFlowCtl = UART_HWCONTROL_NONE;
  huart2.Init.OverSampling = UART_OVERSAMPLING_16;
  if (HAL_UART_Init(&huart2) != HAL_OK)
  {
    Error_Handler();
  }

}

static void MX_DMA_Init(void)
{
  /* DMA controller clock enable */
  __HAL_RCC_DMA1_CLK_ENABLE();

  /* DMA interrupt init */
  /* DMA1_Channel6_IRQn interrupt configuration */
  HAL_NVIC_SetPriority(DMA1_Channel6_IRQn, 0, 0);
  HAL_NVIC_EnableIRQ(DMA1_Channel6_IRQn);
  /* DMA1_Channel7_IRQn interrupt configuration */
  HAL_NVIC_SetPriority(DMA1_Channel7_IRQn, 0, 0);
  HAL_NVIC_EnableIRQ(DMA1_Channel7_IRQn);

}

static void MX_GPIO_Init(void)
{
  GPIO_InitTypeDef GPIO_InitStruct = {0};

  /* GPIO Ports Clock Enable */
  __HAL_RCC_GPIOC_CLK_ENABLE();
  __HAL_RCC_GPIOD_CLK_ENABLE();
  __HAL_RCC_GPIOA_CLK_ENABLE();
  __HAL_RCC_GPIOB_CLK_ENABLE();

  /*Configure GPIO pin Output Level */
  HAL_GPIO_WritePin(GPIOC, GPIO_PIN_15|GPIO_PIN_0|GPIO_PIN_4, GPIO_PIN_RESET);

  /*Configure GPIO pin Output Level */
  HAL_GPIO_WritePin(GPIOC, GPIO_PIN_2, GPIO_PIN_SET);

  /*Configure GPIO pin Output Level */
  HAL_GPIO_WritePin(GPIOA, GPIO_PIN_5|GPIO_PIN_7, GPIO_PIN_SET);

  /*Configure GPIO pin Output Level */
  HAL_GPIO_WritePin(GPIOB, GPIO_PIN_0|GPIO_PIN_1|GPIO_PIN_12, GPIO_PIN_RESET);

  /*Configure GPIO pin Output Level */
  HAL_GPIO_WritePin(GPIOD, GPIO_PIN_2, GPIO_PIN_RESET);

  /*Configure GPIO pins : PC15 PC4 */
  GPIO_InitStruct.Pin = GPIO_PIN_15|GPIO_PIN_4;
  GPIO_InitStruct.Mode = GPIO_MODE_OUTPUT_PP;
  GPIO_InitStruct.Pull = GPIO_NOPULL;
  GPIO_InitStruct.Speed = GPIO_SPEED_FREQ_HIGH;
  HAL_GPIO_Init(GPIOC, &GPIO_InitStruct);

  /*Configure GPIO pins : PC0 PC2 */
  GPIO_InitStruct.Pin = GPIO_PIN_0|GPIO_PIN_2;
  GPIO_InitStruct.Mode = GPIO_MODE_OUTPUT_PP;
  GPIO_InitStruct.Pull = GPIO_NOPULL;
  GPIO_InitStruct.Speed = GPIO_SPEED_FREQ_LOW;
  HAL_GPIO_Init(GPIOC, &GPIO_InitStruct);

  /*Configure GPIO pin : PC1 */
  GPIO_InitStruct.Pin = GPIO_PIN_1;
  GPIO_InitStruct.Mode = GPIO_MODE_IT_RISING_FALLING;
  GPIO_InitStruct.Pull = GPIO_NOPULL;
  HAL_GPIO_Init(GPIOC, &GPIO_InitStruct);

  /*Configure GPIO pins : PC3 PC10 */
  GPIO_InitStruct.Pin = GPIO_PIN_3|GPIO_PIN_10;
  GPIO_InitStruct.Mode = GPIO_MODE_INPUT;
  GPIO_InitStruct.Pull = GPIO_PULLUP;
  HAL_GPIO_Init(GPIOC, &GPIO_InitStruct);

  /*Configure GPIO pins : PA5 PA7 */
  GPIO_InitStruct.Pin = GPIO_PIN_5|GPIO_PIN_7;
  GPIO_InitStruct.Mode = GPIO_MODE_OUTPUT_PP;
  GPIO_InitStruct.Pull = GPIO_NOPULL;
  GPIO_InitStruct.Speed = GPIO_SPEED_FREQ_HIGH;
  HAL_GPIO_Init(GPIOA, &GPIO_InitStruct);

  /*Configure GPIO pin : PA6 */
  GPIO_InitStruct.Pin = GPIO_PIN_6;
  GPIO_InitStruct.Mode = GPIO_MODE_INPUT;
  GPIO_InitStruct.Pull = GPIO_NOPULL;
  HAL_GPIO_Init(GPIOA, &GPIO_InitStruct);

  /*Configure GPIO pins : PB0 PB1 PB12 */
  GPIO_InitStruct.Pin = GPIO_PIN_0|GPIO_PIN_1|GPIO_PIN_12;
  GPIO_InitStruct.Mode = GPIO_MODE_OUTPUT_PP;
  GPIO_InitStruct.Pull = GPIO_NOPULL;
  GPIO_InitStruct.Speed = GPIO_SPEED_FREQ_LOW;
  HAL_GPIO_Init(GPIOB, &GPIO_InitStruct);

  /*Configure GPIO pin : PB2 */
  GPIO_InitStruct.Pin = GPIO_PIN_2;
  GPIO_InitStruct.Mode = GPIO_MODE_IT_RISING_FALLING;
  GPIO_InitStruct.Pull = GPIO_NOPULL;
  HAL_GPIO_Init(GPIOB, &GPIO_InitStruct);

  /*Configure GPIO pin : PA12 */
  GPIO_InitStruct.Pin = GPIO_PIN_12;
  GPIO_InitStruct.Mode = GPIO_MODE_IT_RISING;
  GPIO_InitStruct.Pull = GPIO_PULLUP;
  HAL_GPIO_Init(GPIOA, &GPIO_InitStruct);

  /*Configure GPIO pin : PA15 */
  GPIO_InitStruct.Pin = GPIO_PIN_15;
  GPIO_InitStruct.Mode = GPIO_MODE_IT_RISING_FALLING;
  GPIO_InitStruct.Pull = GPIO_NOPULL;
  HAL_GPIO_Init(GPIOA, &GPIO_InitStruct);

  /*Configure GPIO pin : PD2 */
  GPIO_InitStruct.Pin = GPIO_PIN_2;
  GPIO_InitStruct.Mode = GPIO_MODE_OUTPUT_PP;
  GPIO_InitStruct.Pull = GPIO_NOPULL;
  GPIO_InitStruct.Speed = GPIO_SPEED_FREQ_LOW;
  HAL_GPIO_Init(GPIOD, &GPIO_InitStruct);

  /* EXTI interrupt init*/
  HAL_NVIC_SetPriority(EXTI1_IRQn, 1, 0);
  HAL_NVIC_EnableIRQ(EXTI1_IRQn);

  HAL_NVIC_SetPriority(EXTI2_IRQn, 0, 0);
  HAL_NVIC_EnableIRQ(EXTI2_IRQn);

  HAL_NVIC_SetPriority(EXTI15_10_IRQn, 5, 0);
  HAL_NVIC_EnableIRQ(EXTI15_10_IRQn);

}

void Error_Handler(void)
{
  while(1)
  {
  }
}

/************************ (C) COPYRIGHT STMicroelectronics *****END OF FILE****/
